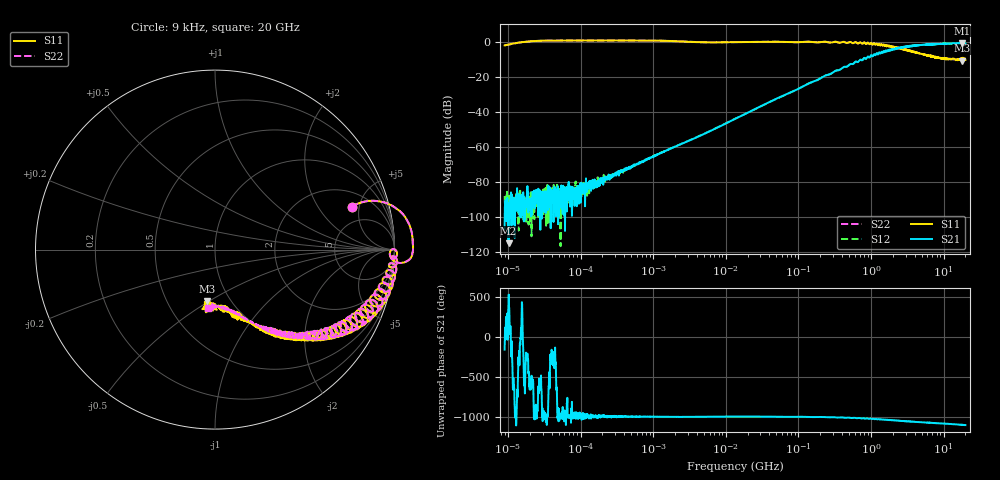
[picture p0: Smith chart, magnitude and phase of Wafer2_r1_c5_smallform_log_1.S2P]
!  2-Port S-parameters saved by WinCal
! VAR MeasName=S-Parameters (CALIBRATED_DATA) read from VNA (P5004A)
! VAR MeasDate=26/04/2024 18:47:38
! VAR NAME=Wafer2_r1_c5_smallform_log
! VAR FILENAME=Wafer2_r1_c5_smallform_log_1.S2P
! VAR DATE=26/04/2024 18:47:38
! VAR PHYS_PORTS=1,2
! VAR ObjTypeName=DATASET
! VAR IndexType=Frequency
# Hz S MA R 50
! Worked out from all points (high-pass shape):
!   2000 points, 9 kHz to 20 GHz, reference 50 ohm
!   highest |S21| = -0.63 dB at 18.05 GHz (marker M1); lowest = -115.3 dB at 10.19 kHz (marker M2)
!   |S21| within 3 dB of the highest: 2.353 GHz to 2.423 GHz (70.52 MHz wide, 2.95 % of centre); 2.439 GHz to end of sweep (the widest 2 of 4)
!   lowest |S11| = -10.8 dB at 18.19 GHz (marker M3), VSWR 1.81, Z = 39.1 - j24.4 ohm
!   |S11| at or under -10 dB: 12.36 GHz to 12.74 GHz (380.1 MHz wide, 3.03 % of centre); 14.44 GHz to 15.13 GHz (688.6 MHz wide, 4.66 % of centre); 16.16 GHz to 16.48 GHz (312.4 MHz wide, 1.91 % of centre) (the widest 3 of 16)
!   |S22| runs from -10.4 to 0.9 dB; largest |S21 - S12| = 0.037
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9000  0.7978 17.3  4.387e-06 -156.5  3.858e-05 -152.7  0.7979 17.3
10191.01  0.842 17.9  1.713e-06 49.2  1.932e-05 139.1  0.8419 17.9
15346.74  0.9813 15.5  4.244e-05 133.5  1.45e-05 -6.5  0.9814 15.5
26749.44  1.077 9.4  1.791e-05 121.7  2.945e-05 -9.4  1.077 9.4
103439.5  1.102 2.1  5.464e-05 48.9  6.157e-05 132.8  1.102 2.1
156913.5  1.103 1.2  0.0001149 81.0  8.414e-05 93.6  1.103 1.2
198271.2  1.103 0.9  0.0001025 87.7  0.0001035 80.6  1.103 0.8
1180198  1.09 -2.6  0.0006201 86.5  0.0006259 86.6  1.09 -2.6
4530556  0.9807 -2.6  0.002108 86.6  0.002129 86.5  0.9807 -2.6
1.346554e7  0.9861 0.1  0.006287 89.2  0.006341 88.7  0.9861 0.1
1.105652e8  0.995 -2.1  0.05049 86.4  0.05085 86.0  0.9947 -2.1
1.536358e8  1 -5.6  0.07085 82.5  0.07013 82.7  1.001 -5.5
2.966476e8  0.9819 -6.7  0.1315 81.1  0.1328 81.0  0.9817 -6.7
7.506948e8  0.8948 -20.9  0.2989 65.9  0.2982 66.1  0.8966 -20.6
1.043128e9  0.851 -27.9  0.3895 58.4  0.3897 58.5  0.8527 -27.6
1.752917e9  0.7399 -37.2  0.5523 47.7  0.5551 47.6  0.7395 -36.9
2.945676e9  0.6 -49.7  0.7132 33.0  0.7195 33.1  0.6027 -49.4
5.646226e9  0.4295 -66.3  0.8378 15.0  0.843 14.7  0.4279 -65.7
1.347662e10  0.3348 -88.3  0.9232 -5.9  0.9188 -6.7  0.3179 -86.8
1.805428e10  0.3484 -98.6  0.9297 -14.9  0.9025 -16.4  0.3012 -93.1
1.818676e10  0.2892 -98.9  0.8831 -16.5  0.8712 -14.2  0.3308 -91.7
2e10  0.3106 -98.6  0.8877 -17.5  0.9014 -16.8  0.3296 -97.2
